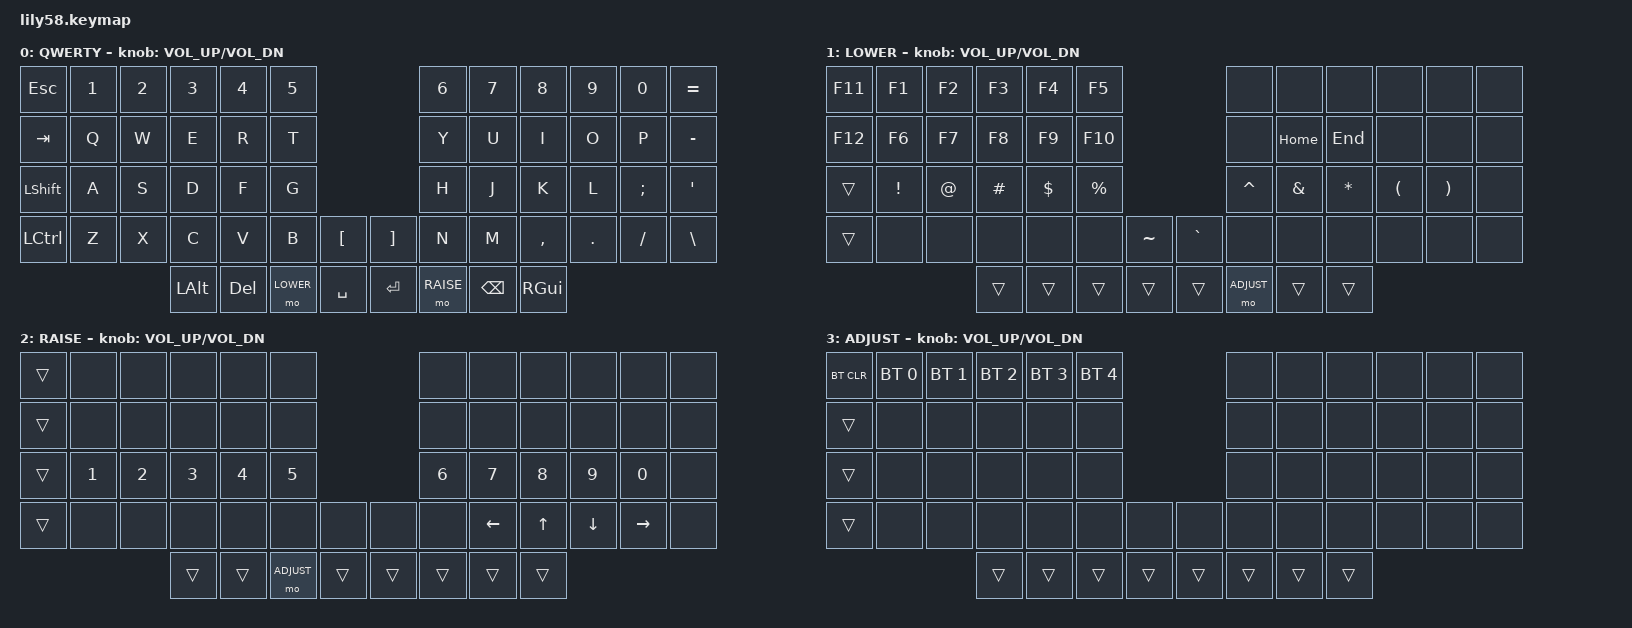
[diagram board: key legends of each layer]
/*
 * Copyright (c) 2020 The ZMK Contributors
 *
 * SPDX-License-Identifier: MIT
 */

#include <behaviors.dtsi>
#include <dt-bindings/zmk/keys.h>
#include <dt-bindings/zmk/bt.h>
#include <dt-bindings/zmk/ext_power.h>

#define QWERTY       0
#define LOWER        1
#define RAISE        2
#define ADJUST       3

/ {

	keymap {
		compatible = "zmk,keymap";

		qwerty_layer {
			label = "QWERTY";
/*
 * .-----------------------------------------.                    .-----------------------------------------.
 * | ESC  |   1  |   2  |   3  |   4  |   5  |                    |   6  |   7  |   8  |   9  |   0  |  =   |
 * |------+------+------+------+------+------|                    |------+------+------+------+------+------|
 * | TAB  |   Q  |   W  |   E  |   R  |   T  |                    |   Y  |   U  |   I  |   O  |   P  |  -   |
 * |------+------+------+------+------+------|                    |------+------+------+------+------+------|
 * |SHIFT |   A  |   S  |   D  |   F  |   G  |-------.    .-------|   H  |   J  |   K  |   L  |   ;  |  '   |
 * |------+------+------+------+------+------|   [   |    |    ]  |------+------+------+------+------+------|
 * | CTRL |   Z  |   X  |   C  |   V  |   B  |-------|    |-------|   N  |   M  |   ,  |   .  |   /  |  \   |
 * '-----------------------------------------/      /      \      \-----------------------------------------'
 *                    | ALT  | DEL  |LOWER |/SPACE /        \ENTER \|RAISE | BSPC | GUI  |
 *                    '---------------------------'          '---------------------------'
 */
			bindings = <
&kp ESC    &kp N1 &kp N2 &kp N3   &kp N4  &kp N5                          &kp N6     &kp N7   &kp N8    &kp N9  &kp N0   &kp EQUAL
&kp TAB    &kp Q  &kp W  &kp E    &kp R   &kp T                           &kp Y      &kp U    &kp I     &kp O   &kp P    &kp MINUS
&kp LSHIFT &kp A  &kp S  &kp D    &kp F   &kp G                           &kp H      &kp J    &kp K     &kp L   &kp SEMI &kp SQT
&kp LCTRL  &kp Z  &kp X  &kp C    &kp V   &kp B      &kp LBKT   &kp RBKT  &kp N      &kp M    &kp COMMA &kp DOT &kp FSLH &kp BSLH
                         &kp LALT &kp DEL &mo LOWER  &kp SPACE  &kp RET   &mo RAISE  &kp BSPC &kp RGUI
			>;

			sensor-bindings = <&inc_dec_kp C_VOL_UP C_VOL_DN>;
		};
		
		lower_layer {
			label = "LOWER";
/*
 * .-----------------------------------------.                    .-----------------------------------------.
 * | F11  |  F1  |  F2  |  F3  |  F4  |  F5  |                    |      |      |      |      |      |      |
 * |------+------+------+------+------+------|                    |------+------+------+------+------+------|
 * | F12  |  F6  |  F7  |  F8  |  F9  | F10  |                    |      | HOME | END  |      |      |      |
 * |------+------+------+------+------+------|                    |------+------+------+------+------+------|
 * |      |   !  |   @  |   #  |   $  |   %  |-------.    .-------|   ^  |   &  |   *  |   (  |   )  |      |
 * |------+------+------+------+------+------|   ~   |    |   `   |------+------+------+------+------+------|
 * |      |      |      |      |      |      |-------|    |-------|      |      |      |      |      |      |
 * '-----------------------------------------/      /      \      \-----------------------------------------'
 *                    |      |      |      |/      /        \      \|ADJUST|      |      |
 *                    '---------------------------'          '---------------------------'
 */
			bindings = <
&kp F11 &kp F1   &kp F2  &kp F3   &kp F4     &kp F5                        &none      &none    &none     &none    &none     &none
&kp F12 &kp F6   &kp F7  &kp F8   &kp F9     &kp F10                       &none      &kp HOME &kp END   &none    &none     &none
&trans  &kp EXCL &kp AT  &kp HASH &kp DOLLAR &kp PRCNT                     &kp CARET  &kp AMPS &kp ASTRK &kp LPAR &kp RPAR  &none
&trans  &none    &none   &none    &none      &none     &kp TILDE &kp GRAVE &none      &none    &none     &none    &none     &none
                         &trans   &trans     &trans    &trans    &trans    &mo ADJUST &trans   &trans
			>;

			sensor-bindings = <&inc_dec_kp C_VOL_UP C_VOL_DN>;
		};

		raise_layer {
			label = "RAISE";
/*
 * .-----------------------------------------.                    .-----------------------------------------.
 * |      |      |      |      |      |      |                    |      |      |      |      |      |      |
 * |------+------+------+------+------+------|                    |------+------+------+------+------+------|
 * |      |      |      |      |      |      |                    |      |      |      |      |      |      |
 * |------+------+------+------+------+------|                    |------+------+------+------+------+------|
 * |      |  1   |  2   |  3   |  4   |  5   |-------.    .-------|  6   |  7   |  8   |  9   |  0   |      |
 * |------+------+------+------+------+------|       |    |       |------+------+------+------+------+------|
 * |      |      |      |      |      |      |-------|    |-------|      |  <-  |  ^   |  v   |  ->  |      |
 * '-----------------------------------------/      /      \      \-----------------------------------------'
 *                    |      |      |ADJUST|/      /        \      \|      |      |      |
 *                    '---------------------------'          '---------------------------'
 */
			bindings = <
&trans &none  &none  &none  &none  &none                         &none   &none    &none  &none    &none     &none
&trans &none  &none  &none  &none  &none                         &none   &none    &none  &none    &none     &none
&trans &kp N1 &kp N2 &kp N3 &kp N4 &kp N5                        &kp N6  &kp N7   &kp N8 &kp N9   &kp N0    &none
&trans &none  &none  &none  &none  &none       &none      &none  &none   &kp LEFT &kp UP &kp DOWN &kp RIGHT &none
                     &trans &trans &mo ADJUST  &trans     &trans &trans  &trans   &trans
			>;

			sensor-bindings = <&inc_dec_kp C_VOL_UP C_VOL_DN>;
		};

		adjust_layer {
			label = "ADJUST";
/*
 * .-----------------------------------------.                    .-----------------------------------------.
 * |BTCLR | BT0  | BT1  | BT2  | BT3  | BT4  |                    |      |      |      |      |      |      |
 * |------+------+------+------+------+------|                    |------+------+------+------+------+------|
 * |      |      |      |      |      |      |                    |      |      |      |      |      |      |
 * |------+------+------+------+------+------|                    |------+------+------+------+------+------|
 * |      |      |      |      |      |      |-------.    .-------|      |      |      |      |      |      |
 * |------+------+------+------+------+------|       |    |       |------+------+------+------+------+------|
 * |      |      |      |      |      |      |-------|    |-------|      |      |      |      |      |      |
 * '-----------------------------------------/      /      \      \-----------------------------------------'
 *                    |      |      |      |/      /        \      \|      |      |      |
 *                    '---------------------------'          '---------------------------'
 */
			bindings = <
&bt BT_CLR &bt BT_SEL 0  &bt BT_SEL 1  &bt BT_SEL 2  &bt BT_SEL 3 &bt BT_SEL 4                 &none  &none  &none  &none &none &none
&trans     &none         &none         &none         &none         &none                       &none  &none  &none  &none &none &none
&trans     &none         &none         &none         &none         &none                       &none  &none  &none  &none &none &none
&trans     &none         &none         &none         &none         &none        &none  &none   &none  &none  &none  &none &none &none
                                       &trans        &trans        &trans       &trans &trans  &trans &trans &trans
			>;

			sensor-bindings = <&inc_dec_kp C_VOL_UP C_VOL_DN>;
		};
	};
};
